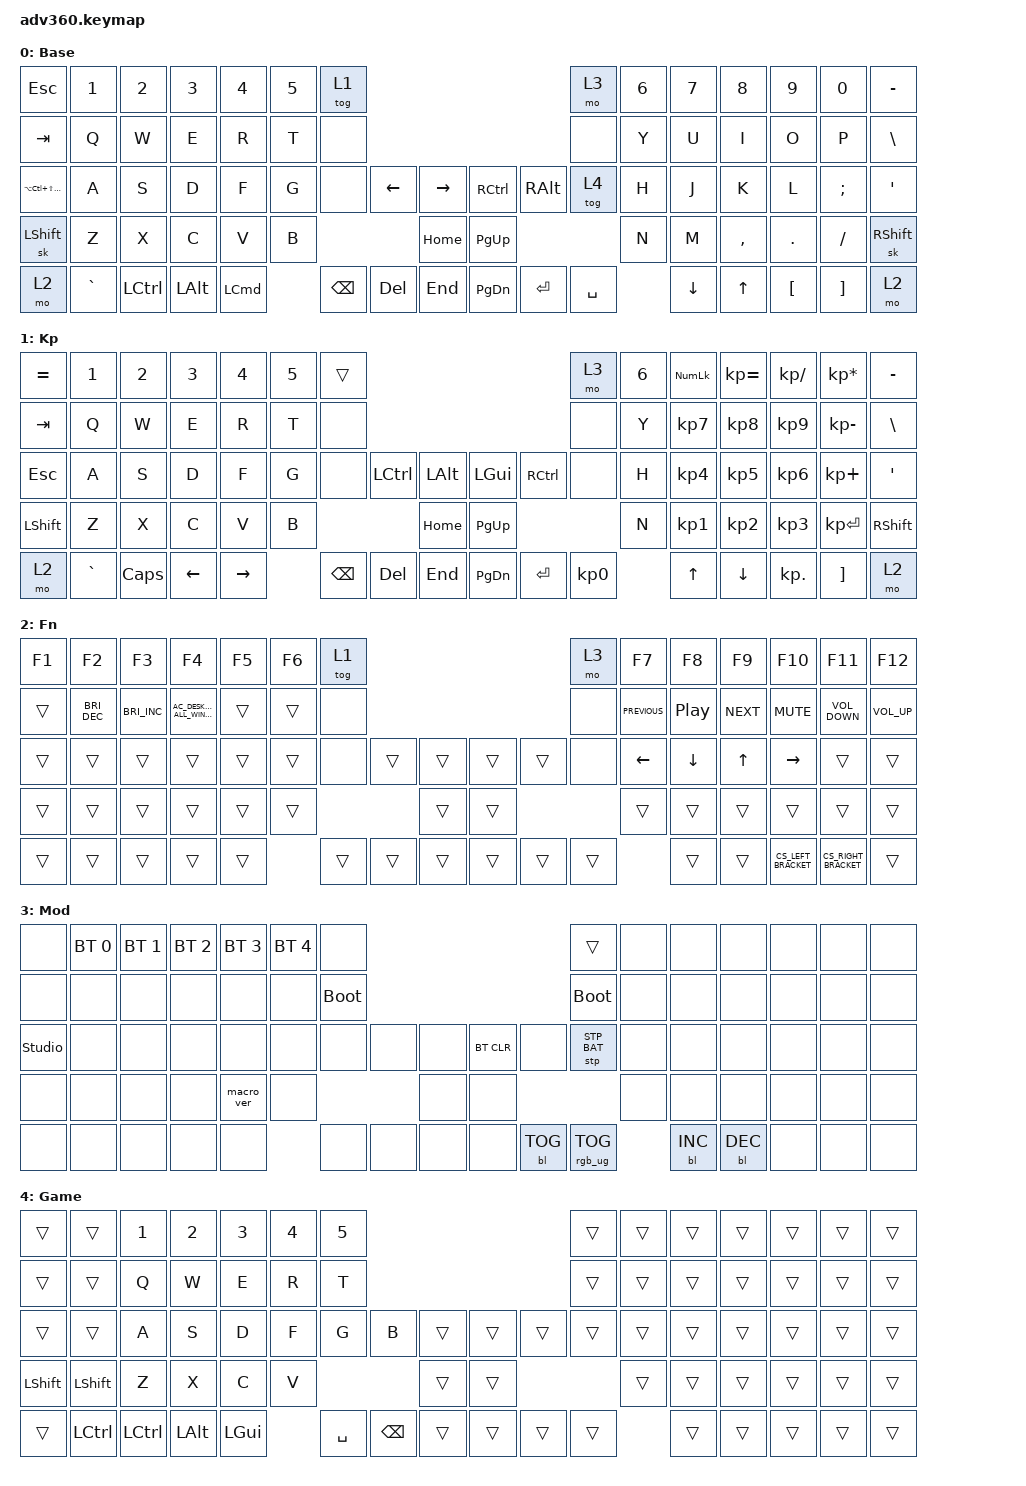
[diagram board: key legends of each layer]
#include <dt-bindings/zmk/stp.h>
#include <behaviors.dtsi>
#include <dt-bindings/zmk/backlight.h>
#include <dt-bindings/zmk/bt.h>
#include <dt-bindings/zmk/keys.h>
#include <dt-bindings/zmk/rgb.h>
#include "keys_cs.h"

/ {
    behaviors {
        #include "macros.dtsi"
      #include "version.dtsi"

        hm: homerow_mods {
            compatible = "zmk,behavior-hold-tap";
            label = "HOMEROW_MODS";
            #binding-cells = <2>;
            tapping-term-ms = <200>;
            quick_tap_ms = <175>;
            flavor = "tap-preferred";
            bindings = <&kp>, <&kp>;
        };
    };

    keymap {
        compatible = "zmk,keymap";

        default_layer {
            display-name = "Base";
            bindings = <
&kp ESCAPE                &kp N1     &kp N2     &kp N3        &kp N4            &kp N5  &tog 1                                                                           &mo 3      &kp N6  &kp N7          &kp N8        &kp N9    &kp N0    &kp MINUS
&kp TAB                   &kp Q      &kp W      &kp E         &kp R             &kp T   &none                                                                            &none      &kp Y   &kp U           &kp I         &kp O     &kp P     &kp BSLH
&kp LA(LC(LS(LG(LGUI))))  &kp A      &kp S      &kp D         &kp F             &kp G   &none     &kp LEFT_ARROW  &kp RIGHT_ARROW      &kp RIGHT_CONTROL  &kp RIGHT_ALT  &tog 4     &kp H   &kp J           &kp K         &kp L     &kp SEMI  &kp SQT
&sk LSHFT                 &kp Z      &kp X      &kp C         &kp V             &kp B                             &kp HOME             &kp PG_UP                                    &kp N   &kp M           &kp COMMA     &kp DOT   &kp FSLH  &sk RSHFT
&mo 2                     &kp GRAVE  &kp LCTRL  &kp LEFT_ALT  &kp LEFT_COMMAND          &kp BSPC  &kp DEL         &kp END              &kp PG_DN          &kp ENTER      &kp SPACE          &kp DOWN_ARROW  &kp UP_ARROW  &kp LBKT  &kp RBKT  &mo 2
            >;
        };

        keypad {
            display-name = "Kp";
            bindings = <
&kp EQUAL  &kp N1     &kp N2    &kp N3    &kp N4     &kp N5  &trans                                                   &mo 3      &kp N6  &kp KP_NUM  &kp KP_EQUAL  &kp KP_DIVIDE  &kp KP_MULTIPLY  &kp MINUS
&kp TAB    &kp Q      &kp W     &kp E     &kp R      &kp T   &none                                                    &none      &kp Y   &kp KP_N7   &kp KP_N8     &kp KP_N9      &kp KP_MINUS     &kp BSLH
&kp ESC    &kp A      &kp S     &kp D     &kp F      &kp G   &none     &kp LCTRL  &kp LALT      &kp LGUI   &kp RCTRL  &none      &kp H   &kp KP_N4   &kp KP_N5     &kp KP_N6      &kp KP_PLUS      &kp SQT
&kp LSHFT  &kp Z      &kp X     &kp C     &kp V      &kp B                        &kp HOME      &kp PG_UP                        &kp N   &kp KP_N1   &kp KP_N2     &kp KP_N3      &kp KP_ENTER     &kp RSHFT
&mo 2      &kp GRAVE  &kp CAPS  &kp LEFT  &kp RIGHT          &kp BSPC  &kp DEL    &kp END       &kp PG_DN  &kp ENTER  &kp KP_N0          &kp UP      &kp DOWN      &kp KP_DOT     &kp RBKT         &mo 2
            >;
        };

        fn {
            display-name = "Fn";
            bindings = <
&kp F1  &kp F2                &kp F3                &kp F4                             &kp F5  &kp F6  &tog 1                                      &mo 3   &kp F7          &kp F8            &kp F9        &kp F10              &kp F11               &kp F12
&trans  &kp C_BRIGHTNESS_DEC  &kp C_BRIGHTNESS_INC  &kp C_AC_DESKTOP_SHOW_ALL_WINDOWS  &trans  &trans  &none                                       &none   &kp C_PREVIOUS  &kp C_PLAY_PAUSE  &kp C_NEXT    &kp C_MUTE           &kp C_VOLUME_DOWN     &kp C_VOLUME_UP
&trans  &trans                &trans                &trans                             &trans  &trans  &none   &trans  &trans      &trans  &trans  &none   &kp LEFT_ARROW  &kp DOWN_ARROW    &kp UP_ARROW  &kp RIGHT_ARROW      &trans                &trans
&trans  &trans                &trans                &trans                             &trans  &trans                  &trans      &trans                  &trans          &trans            &trans        &trans               &trans                &trans
&trans  &trans                &trans                &trans                             &trans          &trans  &trans  &trans      &trans  &trans  &trans                  &trans            &trans        &kp CS_LEFT_BRACKET  &kp CS_RIGHT_BRACKET  &trans
            >;
        };

        mod {
            display-name = "Mod";
            bindings = <
&none           &bt BT_SEL 0  &bt BT_SEL 1  &bt BT_SEL 2  &bt BT_SEL 3  &bt BT_SEL 4  &none                                                  &trans           &none  &none       &none       &none  &none  &none
&none           &none         &none         &none         &none         &none         &bootloader                                            &bootloader      &none  &none       &none       &none  &none  &none
&studio_unlock  &none         &none         &none         &none         &none         &none        &none  &none      &bt BT_CLR  &none       &stp STP_BAT     &none  &none       &none       &none  &none  &none
&none           &none         &none         &none         &macro_ver    &none                             &none      &none                                    &none  &none       &none       &none  &none  &none
&none           &none         &none         &none         &none                       &none        &none  &none      &none       &bl BL_TOG  &rgb_ug RGB_TOG         &bl BL_INC  &bl BL_DEC  &none  &none  &none
            >;
        };

        Game {
            bindings = <
&trans          &trans     &kp N1     &kp N2    &kp N3    &kp N4  &kp N5                                           &trans  &trans  &trans  &trans  &trans  &trans  &trans
&trans          &trans     &kp Q      &kp W     &kp E     &kp R   &kp T                                            &trans  &trans  &trans  &trans  &trans  &trans  &trans
&trans          &trans     &kp A      &kp S     &kp D     &kp F   &kp G      &kp B     &trans      &trans  &trans  &trans  &trans  &trans  &trans  &trans  &trans  &trans
&kp LEFT_SHIFT  &kp LSHFT  &kp Z      &kp X     &kp C     &kp V                        &trans      &trans                  &trans  &trans  &trans  &trans  &trans  &trans
&trans          &kp LCTRL  &kp LCTRL  &kp LALT  &kp LGUI          &kp SPACE  &kp BSPC  &trans      &trans  &trans  &trans          &trans  &trans  &trans  &trans  &trans
            >;
        };

        extra2 {
            display-name = "Purple";
            status = "reserved";
        };

        extra3 {
            display-name = "Cyan";
            status = "reserved";
        };
    };
};
